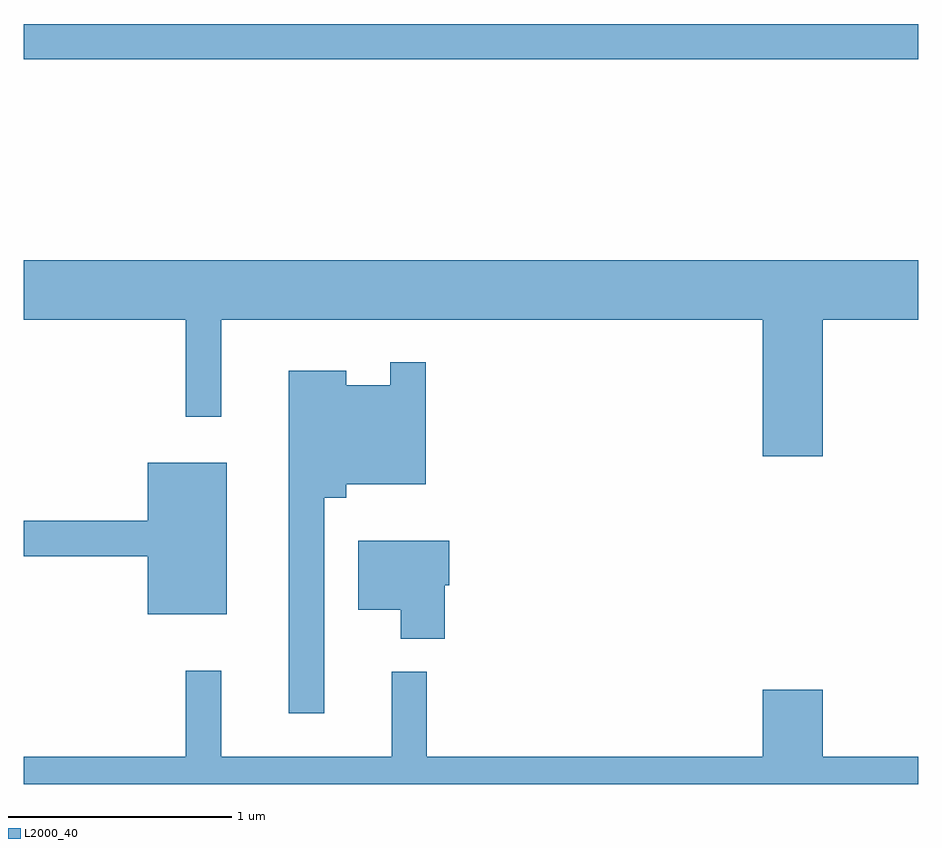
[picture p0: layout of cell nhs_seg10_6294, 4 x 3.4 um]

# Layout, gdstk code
import gdstk
lib = gdstk.Library(unit=1e-6, precision=1e-09)
def R(c, l, rs):  # rectangles x0, y0, x1, y1
    for r in rs: c.add(gdstk.rectangle(r[:2], r[2:], *l))
def P(c, l, *ps):  # polygons
    for p in ps: c.add(gdstk.Polygon(p, *l))
L2000_40 = (2000, 40)

nhs_seg10_6294 = lib.new_cell('nhs_seg10_6294')
R(nhs_seg10_6294, L2000_40, [(371.611,2101.761,375.611,2101.919)])
P(nhs_seg10_6294, L2000_40, [(375.184,2100.596),(375.611,2100.596),(375.611,2100.864),(371.611,2100.864),(371.611,2100.596),(372.336,2100.596),(372.336,2100.163),(372.494,2100.163),(372.494,2100.596),(374.916,2100.596),(374.916,2099.986),(375.184,2099.986)],
  [(372.954,2099.801),(373.054,2099.801),(373.054,2099.861),(373.409,2099.861),(373.409,2100.408),(373.251,2100.408),(373.251,2100.304),(373.054,2100.304),(373.054,2100.369),(372.796,2100.369),(372.796,2098.838),(372.954,2098.838)],
  [(372.519,2099.959),(372.166,2099.959),(372.166,2099.699),(371.611,2099.699),(371.611,2099.541),(372.166,2099.541),(372.166,2099.281),(372.519,2099.281)],
  [(373.494,2099.411),(373.514,2099.411),(373.514,2099.609),(373.106,2099.609),(373.106,2099.301),(373.296,2099.301),(373.296,2099.171),(373.494,2099.171)],
  [(375.611,2098.644),(375.184,2098.644),(375.184,2098.944),(374.916,2098.944),(374.916,2098.644),(373.414,2098.644),(373.414,2099.023),(373.256,2099.023),(373.256,2098.644),(372.494,2098.644),(372.494,2099.028),(372.336,2099.028),(372.336,2098.644),(371.611,2098.644),(371.611,2098.522),(375.611,2098.522)])

lib.write_gds('nhs_seg10_6294.gds')
